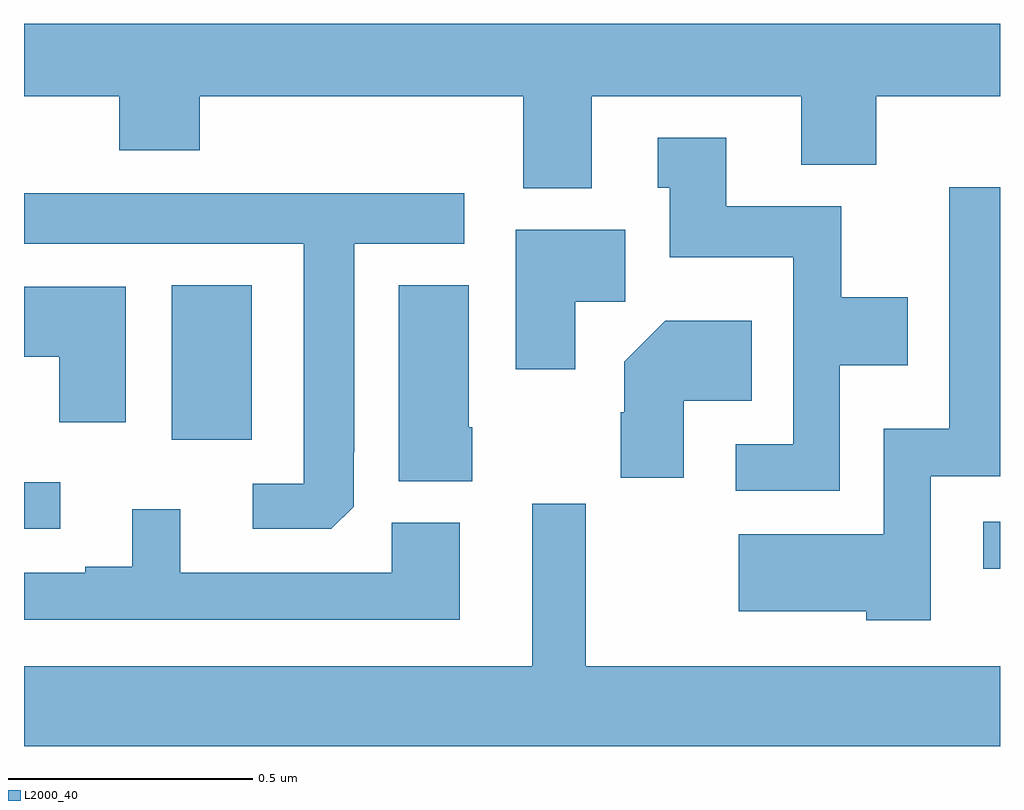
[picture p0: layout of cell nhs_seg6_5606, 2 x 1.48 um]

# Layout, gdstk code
import gdstk
lib = gdstk.Library(unit=1e-6, precision=1e-09)
def R(c, l, rs):  # rectangles x0, y0, x1, y1
    for r in rs: c.add(gdstk.rectangle(r[:2], r[2:], *l))
def P(c, l, *ps):  # polygons
    for p in ps: c.add(gdstk.Polygon(p, *l))
L2000_40 = (2000, 40)

nhs_seg6_5606 = lib.new_cell('nhs_seg6_5606')
R(nhs_seg6_5606, L2000_40, [(186.966,930.383,187,930.48), (185,930.465,185.074,930.561), (185.303,930.648,185.467,930.964)])
P(nhs_seg6_5606, L2000_40, [(186.163,931.352),(186.593,931.352),(186.593,931.211),(186.746,931.211),(186.746,931.352),(187,931.352),(187,931.5),(185,931.5),(185,931.352),(185.195,931.352),(185.195,931.241),(185.36,931.241),(185.36,931.352),(186.023,931.352),(186.023,931.163),(186.163,931.163)],
  [(186.672,930.8),(186.811,930.8),(186.811,930.94),(186.675,930.94),(186.675,931.126),(186.439,931.126),(186.439,931.267),(186.299,931.267),(186.299,931.164),(186.323,931.164),(186.323,931.022),(186.576,931.022),(186.576,930.639),(186.459,930.639),(186.459,930.543),(186.672,930.543)],
  [(186.858,930.573),(187,930.573),(187,931.165),(186.896,931.165),(186.896,930.67),(186.762,930.67),(186.762,930.454),(186.465,930.454),(186.465,930.296),(186.726,930.296),(186.726,930.278),(186.858,930.278)],
  [(185.676,930.511),(185.676,930.622),(185.677,930.622),(185.677,931.049),(185.902,931.049),(185.902,931.153),(185,931.153),(185,931.049),(185.573,931.049),(185.573,930.558),(185.469,930.558),(185.469,930.465),(185.63,930.465)],
  [(186.13,930.931),(186.232,930.931),(186.232,931.078),(186.008,931.078),(186.008,930.792),(186.13,930.792)],
  [(185.919,930.673),(185.911,930.673),(185.911,930.964),(185.768,930.964),(185.768,930.563),(185.919,930.563)],
  [(185.209,930.961),(185,930.961),(185,930.818),(185.072,930.818),(185.072,930.684),(185.209,930.684)],
  [(186.352,930.728),(186.491,930.728),(186.491,930.892),(186.314,930.892),(186.23,930.808),(186.23,930.704),(186.223,930.704),(186.223,930.57),(186.352,930.57)],
  [(187,930.184),(186.151,930.184),(186.151,930.517),(186.041,930.517),(186.041,930.184),(185,930.184),(185,930.02),(187,930.02)],
  [(185.893,930.478),(185.754,930.478),(185.754,930.375),(185.32,930.375),(185.32,930.505),(185.222,930.505),(185.222,930.388),(185.126,930.388),(185.126,930.375),(185,930.375),(185,930.279),(185.893,930.279)])

lib.write_gds('nhs_seg6_5606.gds')
